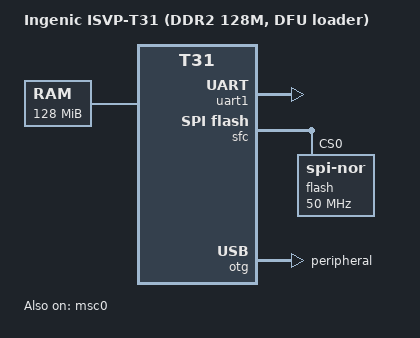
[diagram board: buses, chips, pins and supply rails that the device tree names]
// SPDX-License-Identifier: GPL-2.0+
/*
 * Ingenic ISVP-T31, DFU/USB-boot loader variant.
 *
 * Identical to t31-isvp.dts except the DWC2 OTG is dr_mode =
 * "peripheral" so the dwc2_udc_otg gadget binds (dwc2_udc_otg_bind
 * rejects "host"). Used only by isvp_t31_usbboot_defconfig - the
 * dev/flash loader that USB-boots and auto-enters DFU. Production
 * NOR uses t31-isvp.dts (dr_mode="host" for USB host + USB-NIC).
 *
 * Memory: 128 MB - matches T31_VARIANT_T31X (the usbboot defconfig
 * default) and also covers T31AL (Wyze V3). 64 MB variants would
 * need their own DFU DT + defconfig pair.
 */

/dts-v1/;

#include <dt-bindings/gpio/gpio.h>
#include "t31.dtsi"

/ {
	compatible = "ingenic,isvp-t31", "ingenic,t31";
	model = "Ingenic ISVP-T31 (DDR2 128M, DFU loader)";

	aliases {
		serial1 = &uart1;
	};

	chosen {
		stdout-path = "serial1:115200n8";
	};

	memory {
		device_type = "memory";
		reg = <0x0 0x08000000>;	/* 128 MB DDR2 (T31X/T31AL) */
	};
};

&uart1 {
	status = "okay";
};

&sfc {
	status = "okay";

	flash@0 {
		compatible = "jedec,spi-nor";
		reg = <0>;
		spi-max-frequency = <50000000>;
	};
};

&msc0 {
	status = "okay";
	bus-width = <4>;
	broken-cd;
};

&otg {
	status = "okay";
	dr_mode = "peripheral";		/* gadget bind for DFU/g_dnl */
};
